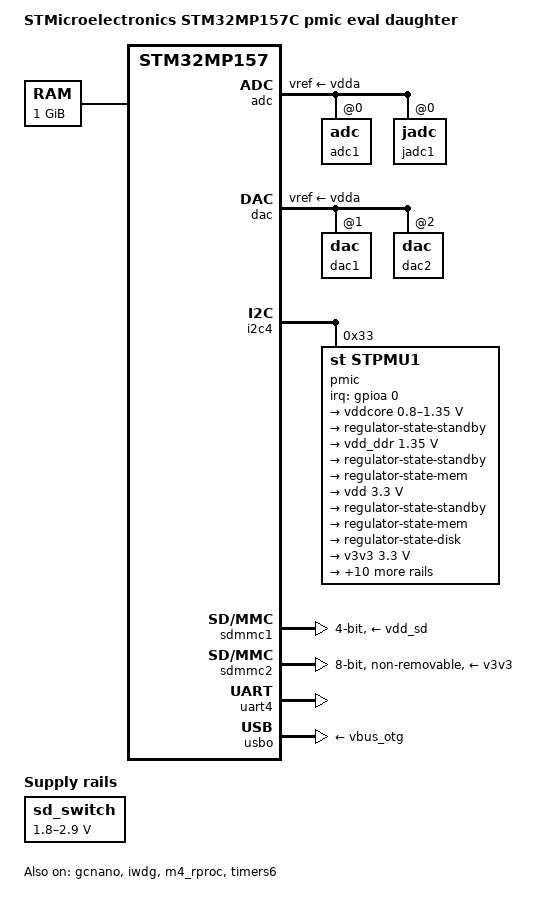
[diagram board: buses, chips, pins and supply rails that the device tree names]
/* SPDX-License-Identifier: (GPL-2.0+ OR BSD-3-Clause) */
/*
 * Copyright (C) STMicroelectronics 2017 - All Rights Reserved
 * Author: Ludovic Barre <ludovic.barre@st.com> for STMicroelectronics.
 */

/dts-v1/;

#include "stm32mp157c.dtsi"
#include "stm32mp157-pinctrl.dtsi"
#include <dt-bindings/gpio/gpio.h>
#include <dt-bindings/input/input.h>

/ {
	model = "STMicroelectronics STM32MP157C pmic eval daughter";
	compatible = "st,stm32mp157c-ed1", "st,stm32mp157";

	chosen {
		bootargs = "earlyprintk console=ttyS3,115200 root=/dev/ram";
		stdout-path = "serial3:115200n8";
	};

	memory {
		reg = <0xC0000000 0x40000000>;
	};

	reserved-memory {
		#address-cells = <1>;
		#size-cells = <1>;
		ranges;

		ipc_share: sram_rproc@30040000 {
			compatible = "shared-dma-pool";
			reg = <0x30040000 0x10000>;
			no-map;
		};

		dma1_reserved: sram_dma1@30050000 {
			reg = <0x30050000 0x8000>;
			no-map;
		};

		dma2_reserved: sram_dma2@30058000 {
			reg = <0x30058000 0x8000>;
			no-map;
		};

		gcnano_reserved: gpu@f8000000 {
			reg = <0xf8000000 0x8000000>;
			no-map;
		};
	};

	gpio_keys {
		compatible = "gpio-keys";
		#address-cells = <1>;
		#size-cells = <0>;
		autorepeat;

		status = "disabled";
		button@0 {
			label = "User PA13";
			linux,code = <BTN_0>;
			interrupt-parent = <&gpioa>;
			interrupts = <13 1>;

			status = "disabled";
		};
		button@1 {
			label = "User PA14";
			linux,code = <BTN_1>;
			interrupt-parent = <&gpioa>;
			interrupts = <14 1>;

			status = "disabled";
		};
	};

	led {
		compatible = "gpio-leds";

		status = "disabled";
		red {
			label = "stm32mp:red:status";
			gpios = <&gpioa 13 GPIO_ACTIVE_LOW>;

			status = "disabled";
		};
		green {
			label = "stm32mp:green:user";
			gpios = <&gpioa 14 GPIO_ACTIVE_LOW>;

			status = "disabled";
		};
	};

	sd_switch: regulator-sd_switch {
		compatible = "regulator-gpio";
		regulator-name = "sd_switch";
		regulator-min-microvolt = <1800000>;
		regulator-max-microvolt = <2900000>;
		regulator-type = "voltage";
		regulator-always-on;

		gpios = <&gpiof 14 GPIO_ACTIVE_HIGH>;
		gpios-states = <0>;
		states = <1800000 0x1 2900000 0x0>;
	};
};

&adc {
	pinctrl-names = "default";
	/* ANA0, ANA1 are dedicated pins and don't need pinctrl: only in6. */
	pinctrl-0 = <&adc1_in6_pins_a>;
	vref-supply = <&vdda>;
	status = "okay";
	adc1: adc@0 {
		st,adc-channels = <0 1 6>;
		/* 16.5 ck_cycles sampling time */
		st,min-sample-time-nsecs = <400>;
		status = "okay";
	};
	jadc1: jadc@0 {
		st,adc-channels = <0 1 6>;
		/* 16.5 ck_cycles sampling time */
		st,min-sample-time-nsecs = <400>;
		status = "okay";
	};
};

&dac {
	pinctrl-names = "default";
	pinctrl-0 = <&dac_ch1_pins_a &dac_ch2_pins_a>;
	vref-supply = <&vdda>;
	status = "okay";
	dac1: dac@1 {
		status = "okay";
	};
	dac2: dac@2 {
		status = "okay";
	};
};

&dma1 {
	memory-region = <&dma1_reserved>;
};

&dma2 {
	memory-region = <&dma2_reserved>;
};

&gcnano {
	contiguous-area = <&gcnano_reserved>;
	status = "okay";
};

&i2c4 {
	pinctrl-names = "default";
	pinctrl-0 = <&i2c4_pins_a>;
	i2c-scl-rising-time-ns = <185>;
	i2c-scl-falling-time-ns = <20>;
	status = "okay";

	pmic: stpmu1@33 {
		compatible = "st,stpmu1";
		reg = <0x33>;
		interrupts = <0 2>;
		interrupt-parent = <&gpioa>;
		interrupt-controller;
		#interrupt-cells = <2>;
		status = "okay";

		st,main_control_register = <0x04>;
		st,vin_control_register = <0xc0>;
		st,usb_control_register = <0x30>;

		regulators {
			compatible = "st,stpmu1-regulators";

			ldo1-supply = <&v3v3>;
			ldo2-supply = <&v3v3>;
			ldo5-supply = <&v3v3>;
			ldo6-supply = <&v3v3>;
			vref_ddr-supply = <&vdd_ddr>;
			vbus_otg-supply = <&bst_out>;
			sw_out-supply = <&bst_out>;

			vddcore: buck1 {
				regulator-compatible = "buck1";
				regulator-name = "vddcore";
				regulator-min-microvolt = <800000>;
				regulator-max-microvolt = <1350000>;
				regulator-always-on;
				regulator-initial-mode = <2>;
				regulator-over-current-protection;

				regulator-state-standby {
					regulator-on-in-suspend;
					regulator-suspend-microvolt = <900000>;
					regulator-mode = <8>;
				};
				regulator-state-mem {
					regulator-off-in-suspend;
				};
				regulator-state-disk {
					regulator-off-in-suspend;
				};
			};

			vdd_ddr: buck2 {
				regulator-compatible = "buck2";
				regulator-name = "vdd_ddr";
				regulator-min-microvolt = <1350000>;
				regulator-max-microvolt = <1350000>;
				regulator-always-on;
				regulator-initial-mode = <2>;
				regulator-over-current-protection;

				regulator-state-standby {
					regulator-suspend-microvolt = <1350000>;
					regulator-on-in-suspend;
					regulator-mode = <8>;
				};
				regulator-state-mem {
					regulator-suspend-microvolt = <1350000>;
					regulator-on-in-suspend;
					regulator-mode = <8>;
				};
				regulator-state-disk {
					regulator-off-in-suspend;
				};
			};

			vdd: buck3 {
				regulator-compatible = "buck3";
				regulator-name = "vdd";
				regulator-min-microvolt = <3300000>;
				regulator-max-microvolt = <3300000>;
				regulator-always-on;
				st,mask_reset;
				regulator-initial-mode = <2>;
				regulator-over-current-protection;

				regulator-state-standby {
					regulator-suspend-microvolt = <3300000>;
					regulator-on-in-suspend;
					regulator-mode = <8>;
				};
				regulator-state-mem {
					regulator-suspend-microvolt = <3300000>;
					regulator-on-in-suspend;
					regulator-mode = <8>;
				};
				regulator-state-disk {
					regulator-suspend-microvolt = <3300000>;
					regulator-on-in-suspend;
					regulator-mode = <8>;
				};
			};

			v3v3: buck4 {
				regulator-compatible = "buck4";
				regulator-name = "v3v3";
				regulator-min-microvolt = <3300000>;
				regulator-max-microvolt = <3300000>;
				regulator-always-on;
				regulator-over-current-protection;

				regulator-state-standby {
					regulator-suspend-microvolt = <3300000>;
					regulator-on-in-suspend;
				};
				regulator-state-mem {
					regulator-off-in-suspend;
				};
				regulator-state-disk {
					regulator-off-in-suspend;
				};
			};

			vdda: ldo1 {
				regulator-compatible = "ldo1";
				regulator-name = "vdda";
				regulator-min-microvolt = <2900000>;
				regulator-max-microvolt = <2900000>;

				regulator-state-standby {
					regulator-suspend-microvolt = <2900000>;
					regulator-unchanged-in-suspend;
				};
				regulator-state-mem {
					regulator-off-in-suspend;
				};
				regulator-state-disk {
					regulator-off-in-suspend;
				};
			};

			v2v8: ldo2 {
				regulator-compatible = "ldo2";
				regulator-name = "v2v8";
				regulator-min-microvolt = <2800000>;
				regulator-max-microvolt = <2800000>;

				regulator-state-standby {
					regulator-off-in-suspend;
				};
				regulator-state-mem {
					regulator-off-in-suspend;
				};
				regulator-state-disk {
					regulator-off-in-suspend;
				};
			};

			vtt_ddr: ldo3 {
				regulator-compatible = "ldo3";
				regulator-name = "vtt_ddr";
				regulator-min-microvolt = <0000000>;
				regulator-max-microvolt = <1000000>;
				regulator-always-on;
				regulator-over-current-protection;

				regulator-state-standby {
					regulator-off-in-suspend;
				};
				regulator-state-mem {
					regulator-off-in-suspend;
				};
				regulator-state-disk {
					regulator-off-in-suspend;
				};
			};

			vdd_usb: ldo4 {
				regulator-compatible = "ldo4";
				regulator-name = "vdd_usb";
				regulator-min-microvolt = <3300000>;
				regulator-max-microvolt = <3300000>;

				regulator-state-standby {
					regulator-unchanged-in-suspend;
				};
				regulator-state-mem {
					regulator-off-in-suspend;
				};
				regulator-state-disk {
					regulator-off-in-suspend;
				};
			};

			vdd_sd: ldo5 {
				regulator-compatible = "ldo5";
				regulator-name = "vdd_sd";
				regulator-min-microvolt = <2900000>;
				regulator-max-microvolt = <2900000>;

				regulator-state-standby {
					regulator-suspend-microvolt = <2900000>;
					regulator-unchanged-in-suspend;
				};
				regulator-state-mem {
					regulator-off-in-suspend;
				};
				regulator-state-disk {
					regulator-off-in-suspend;
				};
			};

			v1v8: ldo6 {
				regulator-compatible = "ldo6";
				regulator-name = "v1v8";
				regulator-min-microvolt = <1800000>;
				regulator-max-microvolt = <1800000>;

				regulator-state-standby {
					regulator-off-in-suspend;
				};
				regulator-state-mem {
					regulator-off-in-suspend;
				};
				regulator-state-disk {
					regulator-off-in-suspend;
				};
			};

			vref_ddr: vref1 {
				regulator-compatible = "vref_ddr";
				regulator-name = "vref_ddr";
				regulator-always-on;
				regulator-over-current-protection;

				regulator-state-standby {
					regulator-on-in-suspend;
				};
				regulator-state-mem {
					regulator-on-in-suspend;
				};
				regulator-state-disk {
					regulator-off-in-suspend;
				};
			};

			 bst_out: bst_out1 {
				regulator-compatible = "boost";
				regulator-name = "bst_out";
				regulator-over-current-protection;
			 };

			vbus_otg: pwr_sw1 {
				regulator-compatible = "vbus_otg";
				regulator-name = "vbus_otg";
				regulator-active-discharge;
			 };

			 vbus_sw: pwr_sw2 {
				regulator-compatible = "sw_out";
				regulator-name = "vbus_sw";
				regulator-active-discharge;
			 };
		};

		protection_v1v8 {
			compatible = "protection-consumer";
			protection-supply = <&v1v8>;
			status = "okay";
			interrupts = <18 0>;
			interrupt-parent = <&pmic>;
		};

		protection_v2v8 {
			compatible = "protection-consumer";
			protection-supply = <&v2v8>;
			status = "okay";
			interrupts = <22 0>;
			interrupt-parent = <&pmic>;
		};

		protection_vdd_usb {
			compatible = "protection-consumer";
			protection-supply = <&vdd_usb>;
			status = "okay";
			interrupts = <20 0>;
			interrupt-parent = <&pmic>;
		};

		protection_vdd_sd {
			compatible = "protection-consumer";
			protection-supply = <&vdd_sd>;
			status = "okay";
			interrupts = <19 0>;
			interrupt-parent = <&pmic>;
		};

		protection_vdda {
			compatible = "protection-consumer";
			protection-supply = <&vdda>;
			status = "okay";
			interrupts = <23 0>;
			interrupt-parent = <&pmic>;
		};

		protection_vbus_otg {
			compatible = "protection-consumer";
			protection-supply = <&vbus_otg>;
			status = "okay";
			interrupts = <17 0>;
			interrupt-parent = <&pmic>;
		};

		protection_vbus_sw {
			compatible = "protection-consumer";
			protection-supply = <&vbus_sw>;
			status = "okay";
			interrupts = <16 0>;
			interrupt-parent = <&pmic>;
		};

		onkey {
			compatible = "st,stpmu1-onkey";
			interrupt-parent = <&pmic>;
			interrupts = <7 0>,<6 1>;
			interrupt-names = "onkey-falling", "onkey-rising";
			status = "okay";
		};

		watchdog {
			compatible = "st,stpmu1-wdt";
		};
	};
};

&ipcc {
	status = "okay";
};

&iwdg {
	timeout-sec = <32>;
	status = "okay";
};

&m4_rproc {
	memory-region = <&ipc_share>;
	mboxes = <&ipcc 0 0>, <&ipcc 0 1>;
	interrupt-parent = <&exti>;
	interrupts = <68 1>;
	interrupt-names = "wdg";
	status = "okay";
};

&pwr {
	pwr-supply = <&vdd>;
};

&sdmmc1 {
	pinctrl-names = "default";
	pinctrl-0 = <&sdmmc1_b4_pins_a &sdmmc1_dir_pins_a>;
	broken-cd;
	st,dirpol;
	st,negedge;
	bus-width = <4>;
	vmmc-supply = <&vdd_sd>;
	vqmmc-supply = <&sd_switch>;
	status = "okay";
};

&sdmmc2 {
	pinctrl-names = "default";
	pinctrl-0 = <&sdmmc2_b4_pins_a &sdmmc2_d47_pins_a>;
	non-removable;
	no-sd;
	no-sdio;
	st,dirpol;
	st,negedge;
	bus-width = <8>;
	vmmc-supply = <&v3v3>;
	vqmmc-supply = <&vdd>;
	status = "okay";
};

&timers6 {
	status = "okay";
	timer@5 {
		status = "okay";
	};
};

&uart4 {
	pinctrl-names = "default";
	pinctrl-0 = <&uart4_pins_a>;
	status = "okay";
};

&usbo {
	vbus-supply = <&vbus_otg>;
};

&usbphyc {
	vdd-supply = <&vdd_usb>;
};
